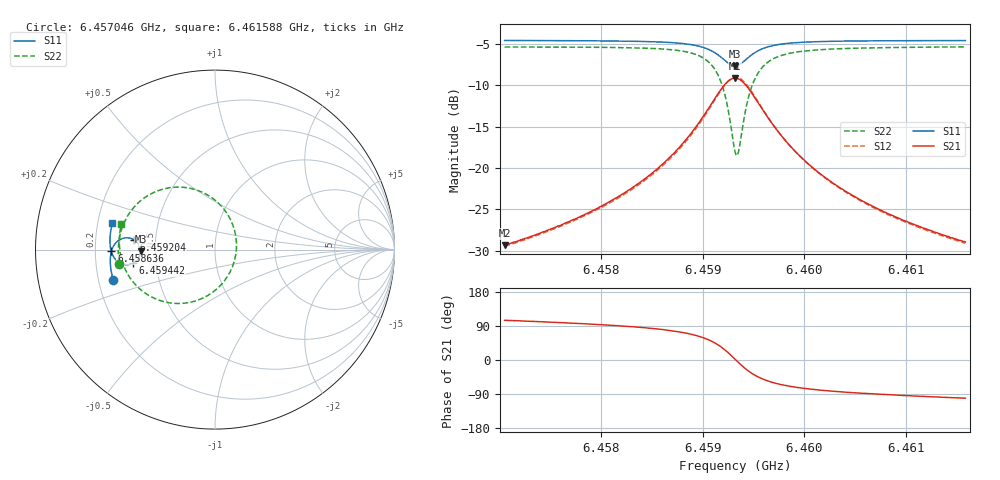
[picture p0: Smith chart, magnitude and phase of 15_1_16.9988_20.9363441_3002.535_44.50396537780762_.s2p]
#  HZ  S  RI  R  50.00
! Rohde & Schwarz Vector Network Analyzer
! Rohde-Schwarz,ZNB20-2Port,1311601062101988,3.16
! Created: UTC 3/20/2024, 10:52:44 PM
! freq[Hz]  re:S11  im:S11  re:S21  im:S21  re:S12  im:S12  re:S22  im:S22
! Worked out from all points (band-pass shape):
!   401 points, 6.457046 GHz to 6.461588 GHz, reference 50 ohm
!   highest |S21| = -9.11 dB at 6.459317 GHz (marker M1); lowest = -29.4 dB at 6.457046 GHz (marker M2)
!   |S21| within 3 dB of the highest: 6.459091 GHz to 6.459545 GHz (453.9 kHz wide, 0.00703 % of centre)
!   lowest |S11| = -7.6 dB at 6.459317 GHz (marker M3), VSWR 2.42, Z = 20.7 - j0.43 ohm
!   |S11| at or under -10 dB: nowhere
!   |S22| runs from -18.5 to -5.3 dB; largest |S21 - S12| = 0.014
!   S11 on the Smith chart (normalised r, x): 6.457046 GHz: 0.26, -0.14; 6.458636 GHz: 0.27, -0.01; 6.459204 GHz: 0.38, +0.05; 6.459442 GHz: 0.37, -0.07; 6.461588 GHz: 0.26, +0.12
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6.4570459e9  -0.5674 -0.1685  -0.00875 0.0329  -0.00699 0.0329  -0.5342 -0.0781
6.4578068e9  -0.5808 -0.1017  -0.00525 0.0512  -0.00269 0.0504  -0.5387 0.0118
6.458227e9  -0.5836 -0.0594  0.000955 0.0708  0.00416 0.0693  -0.5297 0.0789
6.4585677e9  -0.5794 -0.0183  0.0151 0.0998  0.019 0.097  -0.5035 0.1567
6.4586358e9  -0.5772 -0.00873  0.0205 0.1082  0.0245 0.105  -0.4932 0.1767
6.4588289e9  -0.5642 0.0216  0.0475 0.1394  0.0513 0.1343  -0.4426 0.2459
6.4589765e9  -0.5413 0.048  0.0932 0.17  0.0962 0.1633  -0.3582 0.3101
6.4591128e9  -0.4971 0.0656  0.1811 0.1865  0.1818 0.1792  -0.1977 0.3482
6.4592036e9  -0.4519 0.0552  0.2718 0.1551  0.2719 0.1495  -0.0299 0.2972
6.4592717e9  -0.4224 0.0229  0.3332 0.0824  0.3352 0.0776  0.0869 0.1666
6.4593172e9  -0.415 -0.00861  0.35 0.0138  0.3537 0.00728  0.1196 0.0381
6.4593512e9  -0.4189 -0.0328  0.3441 -0.0393  0.3483 -0.0482  0.1081 -0.0627
6.4593967e9  -0.4346 -0.0595  0.3154 -0.1002  0.3178 -0.1121  0.0497 -0.1778
6.4594421e9  -0.457 -0.0762  0.2726 -0.1421  0.2721 -0.1554  -0.037 -0.2537
6.4594875e9  -0.4802 -0.0835  0.2275 -0.165  0.2237 -0.178  -0.1278 -0.2912
6.4595329e9  -0.5011 -0.0836  0.1863 -0.1738  0.1803 -0.1853  -0.2087 -0.3001
6.4596806e9  -0.5457 -0.0633  0.097 -0.1593  0.0886 -0.1656  -0.3788 -0.2495
6.4598396e9  -0.5676 -0.0354  0.0517 -0.1308  0.0439 -0.1336  -0.4601 -0.1759
6.460078e9  -0.5806 0.000306  0.0223 -0.0986  0.0163 -0.0992  -0.5078 -0.0924
6.4604187e9  -0.5853 0.0411  0.00605 -0.0713  0.00202 -0.0709  -0.5291 -0.0126
6.4608389e9  -0.5834 0.0836  -0.00162 -0.0524  -0.0045 -0.0517  -0.5331 0.0556
6.4615884e9  -0.5714 0.1502  -0.00666 -0.035  -0.00841 -0.0341  -0.5216 0.1448
